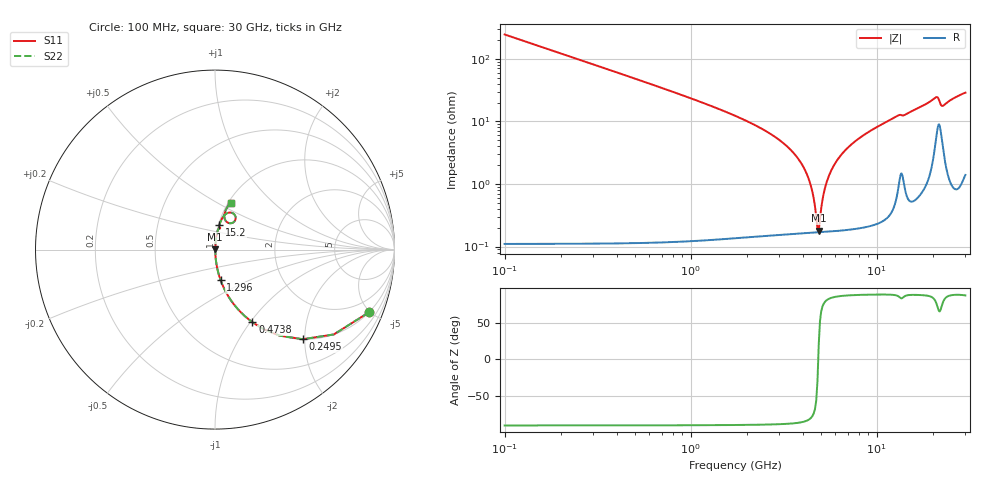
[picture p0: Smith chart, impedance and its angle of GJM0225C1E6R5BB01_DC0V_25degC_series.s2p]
!Murata Part Number: GJM0225C1E6R5BB01
!These Parameters are Measured in Series Mode Connection
!  o--ll--o
!Port1  Port2
!  o------o
!Operation Temp=25[degC], DC Bias Voltage=0[V]
!Freq. Start=100[MHz] Stop=30[GHz], 401[Steps]
!Data Generated on Feb 1, 2023
# Hz S RI R 50
!Freq.(Hz) S11(Real) S11(Imag) S21(Real) S21(Imag) S12(Real) S12(Imag) S22(Real) S22(Imag)
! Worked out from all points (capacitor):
!   401 points, 100 MHz to 30 GHz, reference 50 ohm
!   read as one part in series: C = 6.5 pF near 249.5 MHz
!   lowest |Z| = 180 mohm at 4.884 GHz (marker M1)
!   series resonance near 4.853 GHz, so ESL is about 170 pH
!   S11 on the Smith chart (normalised r, x): 100 MHz: 1.00, -4.89; 249.5 MHz: 1.00, -1.96; 473.8 MHz: 1.00, -1.02; 1.296 GHz: 1.00, -0.35; 15.2 GHz: 1.01, +0.28; 30 GHz: 1.03, +0.57
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1e8  0.8568 -0.35  0.1432 0.35  0.1432 0.35  0.8568 -0.35
2.495e8  0.4893 -0.4993  0.5107 0.4993  0.5107 0.4993  0.4893 -0.4993
4.7375e8  0.2081 -0.4049  0.7919 0.4049  0.7919 0.4049  0.2081 -0.4049
7.7275e8  0.0879 -0.2812  0.9121 0.2812  0.9121 0.2812  0.0879 -0.2812
1.296e9  0.031 -0.1696  0.969 0.1696  0.969 0.1696  0.031 -0.1696
3.91225e9  0.00209 -0.0218  0.9979 0.0218  0.9979 0.0218  0.00209 -0.0218
4.36075e9  0.00176 -0.0108  0.9982 0.0108  0.9982 0.0108  0.00176 -0.0108
4.7345e9  0.00168 -0.00249  0.9983 0.00249  0.9983 0.00249  0.00168 -0.00249
4.884e9  0.00168 0.000634  0.9983 -0.000634  0.9983 -0.000634  0.00168 0.000634
5.10825e9  0.00173 0.00515  0.9983 -0.00515  0.9983 -0.00515  0.00173 0.00515
5.3325e9  0.00181 0.00949  0.9982 -0.00949  0.9982 -0.00949  0.00181 0.00949
5.55675e9  0.00192 0.0137  0.9981 -0.0137  0.9981 -0.0137  0.00192 0.0137
6.45375e9  0.00265 0.0291  0.9974 -0.0291  0.9974 -0.0291  0.00265 0.0291
7.874e9  0.00452 0.0508  0.9955 -0.0508  0.9955 -0.0508  0.00452 0.0508
1.01165e10  0.009 0.0814  0.991 -0.0814  0.991 -0.0814  0.009 0.0814
1.505e10  0.0242 0.1358  0.9758 -0.1358  0.9758 -0.1358  0.0242 0.1358
1.51995e10  0.0247 0.1379  0.9753 -0.1379  0.9753 -0.1379  0.0247 0.1379
2.005825e10  0.067 0.2027  0.933 -0.2027  0.933 -0.2027  0.067 0.2027
2.11795e10  0.1096 0.1934  0.8904 -0.1934  0.8904 -0.1934  0.1096 0.1934
2.245025e10  0.0714 0.1501  0.9286 -0.1501  0.9286 -0.1501  0.0714 0.1501
2.50665e10  0.0548 0.2059  0.9452 -0.2059  0.9452 -0.2059  0.0548 0.2059
3e10  0.0869 0.2584  0.9131 -0.2584  0.9131 -0.2584  0.0869 0.2584
